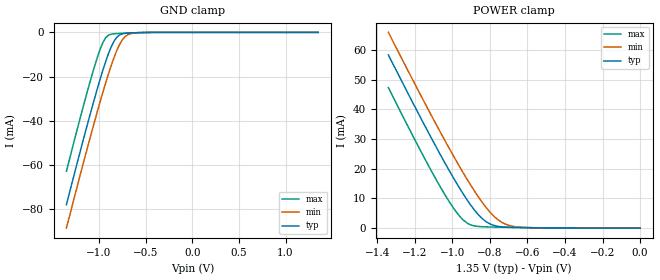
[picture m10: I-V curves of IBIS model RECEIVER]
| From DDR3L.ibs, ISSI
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|   Model RECEIVER
[Model]  RECEIVER
Model_type Input
Vinl = 515.000mV
Vinh = 835.000mV
|   typ   min   max
C_comp   0.6pF   0.5pF   0.70pF
[Model Spec]
| Input threshold voltage corners
Vinl   0.5150V   0.4815V   0.5650V
Vinh   0.8350V   0.8015V   0.8850V
[Receiver Thresholds]
Vth   =  0.675V
Vth_min  =  0.6615V
Vth_max  =  0.6885V
Vinh_ac  =  0.160V
Vinh_dc  =  0.090V
Vinl_ac  = -0.160V
Vinl_dc  = -0.090V
Tslew_ac =  10.0ns
[Temperature Range]   50.0000   125   -40.0000
[Pullup Reference]   1.3500V   1.2830V   1.4500V
[Pulldown Reference]   0.0V   0.0V   0.0V
[POWER Clamp Reference]   1.3500V   1.2830V   1.4500V
[GND Clamp Reference]   0.0V   0.0V   0.0V
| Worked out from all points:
|   GND clamp passes 1 mA (typ) near -0.77 V on its own axis
|   POWER clamp passes 1 mA (typ) near -0.78 V on its own axis
[GND_clamp]
|Voltage   I(typ)   I(min)   I(max)
-1.35V    -78.03mA   -88.62mA   -62.9mA
-1.11V    -39.34mA   -49.95mA   -24.39mA
-1.02V    -25.72mA   -36.1mA    -11.54mA
-960mV    -17.26mA   -27.27mA   -4.705mA
-930mV    -13.35mA   -23.02mA   -2.468mA
-900mV    -9.747mA   -18.94mA   -1.286mA
-840mV    -4.027mA   -11.47mA   -655.8uA
-780mV    -1.18mA    -5.496mA   -487.3uA
-720mV    -441.5uA   -1.897mA   -357.5uA
-660mV    -259.2uA   -573.6uA   -242.2uA
-510mV    -68.24uA   -85.24uA   -39.73uA
1.35V     60.94pA    28.48nA    28.01pA
[POWER_clamp]
|Voltage   I(typ)   I(min)   I(max)
-1.34V    58.31mA    65.9mA     47.29mA
-1.12V    31.36mA    39mA       20.28mA
-1.04V    22.06mA    29.6mA     11.35mA
-980mV    15.45mA    22.8mA     5.561mA
-940mV    11.34mA    18.45mA    2.645mA
-920mV    9.413mA    16.34mA    1.664mA
-860mV    4.454mA    10.42mA    553.3uA
-820mV    2.176mA    6.964mA    425.6uA
-760mV    631uA      2.992mA    335.1uA
-700mV    289.3uA    952.5uA    259.2uA
-640mV    197.1uA    328.6uA    189.2uA
0V        60.94pA    523.8pA    41.87pA
